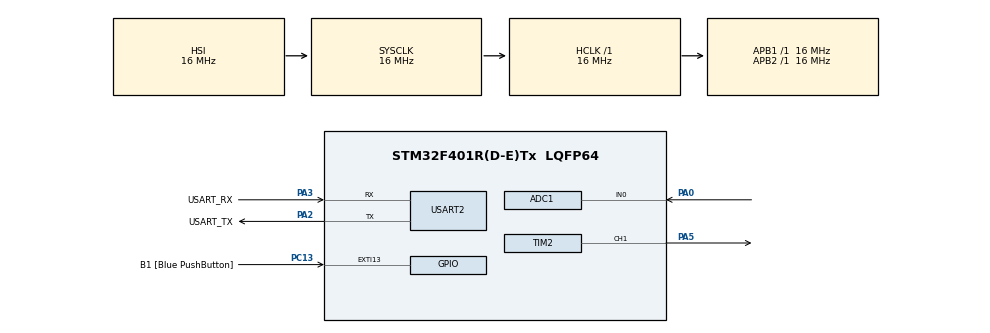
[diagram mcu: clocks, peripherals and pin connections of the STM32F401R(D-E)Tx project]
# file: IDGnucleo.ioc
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ADC1.Channel-0\#ChannelRegularConversion=ADC_CHANNEL_0
ADC1.NbrOfConversionFlag=1
ADC1.Rank-0\#ChannelRegularConversion=1
ADC1.SamplingTime-0\#ChannelRegularConversion=ADC_SAMPLETIME_3CYCLES
ADC1.master=1
Mcu.Family=STM32F4
Mcu.Name=STM32F401R(D-E)Tx
Mcu.Package=LQFP64
NVIC.ADC_IRQn=true\:0\:0\:false\:false\:true\:true\:true\:true
NVIC.EXTI15_10_IRQn=true\:0\:0\:false\:false\:true\:true\:true\:true
NVIC.PriorityGroup=NVIC_PRIORITYGROUP_4
NVIC.USART2_IRQn=true\:0\:0\:false\:false\:true\:true\:true\:true
PA0-WKUP.Signal=ADCx_IN0
PA13.GPIO_Label=TMS
PA13.Mode=Trace_Asynchronous_SW
PA13.Signal=SYS_JTMS-SWDIO
PA14.GPIO_Label=TCK
PA14.Mode=Trace_Asynchronous_SW
PA14.Signal=SYS_JTCK-SWCLK
PA2.GPIO_Label=USART_TX
PA2.GPIO_Mode=GPIO_MODE_AF_PP
PA2.GPIO_PuPd=GPIO_NOPULL
PA2.GPIO_Speed=GPIO_SPEED_FREQ_LOW
PA2.Mode=Asynchronous
PA2.Signal=USART2_TX
PA3.GPIO_Label=USART_RX
PA3.GPIO_Mode=GPIO_MODE_AF_PP
PA3.GPIO_PuPd=GPIO_NOPULL
PA3.GPIO_Speed=GPIO_SPEED_FREQ_LOW
PA3.Mode=Asynchronous
PA3.Signal=USART2_RX
PA5.Signal=S_TIM2_CH1_ETR
PB3.GPIO_Label=SWO
PB3.Mode=Trace_Asynchronous_SW
PB3.Signal=SYS_JTDO-SWO
PC13-ANTI_TAMP.GPIO_Label=B1 [Blue PushButton]
PC13-ANTI_TAMP.GPIO_ModeDefaultEXTI=GPIO_MODE_IT_FALLING
PC13-ANTI_TAMP.GPIO_PuPd=GPIO_NOPULL
PC13-ANTI_TAMP.Signal=GPXTI13
PC14-OSC32_IN.Mode=LSE-External-Oscillator
PC14-OSC32_IN.Signal=RCC_OSC32_IN
PC15-OSC32_OUT.Mode=LSE-External-Oscillator
PC15-OSC32_OUT.Signal=RCC_OSC32_OUT
PH0\ -\ OSC_IN.Mode=HSE-External-Clock-Source
PH0\ -\ OSC_IN.Signal=RCC_OSC_IN
PH1\ -\ OSC_OUT.Mode=HSE-External-Clock-Source
PH1\ -\ OSC_OUT.Signal=RCC_OSC_OUT
ProjectManager.HeapSize=0x200
ProjectManager.StackSize=0x400
ProjectManager.TargetToolchain=STM32CubeIDE
RCC.48MHZClocksFreq_Value=48000000
RCC.AHBFreq_Value=16000000
RCC.APB1Freq_Value=16000000
RCC.APB1TimFreq_Value=16000000
RCC.APB2Freq_Value=16000000
RCC.APB2TimFreq_Value=16000000
RCC.CortexFreq_Value=16000000
RCC.HCLKFreq_Value=16000000
RCC.HSE_VALUE=8000000
RCC.HSI_VALUE=16000000
RCC.PLLN=336
RCC.PLLP=RCC_PLLP_DIV4
RCC.PLLQ=7
RCC.SYSCLKFreq_VALUE=16000000
RCC.VCOOutputFreq_Value=336000000
SH.ADCx_IN0.0=ADC1_IN0,IN0
SH.S_TIM2_CH1_ETR.0=TIM2_CH1,PWM Generation1 CH1
TIM2.Channel-PWM\ Generation1\ CH1=TIM_CHANNEL_1
TIM2.Period=999
TIM2.Prescaler=15
USART2.VirtualMode=VM_ASYNC
VP_TIM2_VS_ClockSourceINT.Mode=Internal
board=NUCLEO-F401RE

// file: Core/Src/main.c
/* USER CODE BEGIN Header */
/**
  ******************************************************************************
  * @file           : main.c
  * @brief          : Main program body
  ******************************************************************************
  * @attention
  *
  * Copyright (c) 2026 STMicroelectronics.
  * All rights reserved.
  *
  * This software is licensed under terms that can be found in the LICENSE file
  * in the root directory of this software component.
  * If no LICENSE file comes with this software, it is provided AS-IS.
  *
  ******************************************************************************
  */
/* USER CODE END Header */
#include "main.h"
#include <string.h>
#include <stdlib.h>

ADC_HandleTypeDef hadc1;

TIM_HandleTypeDef htim2;

UART_HandleTypeDef huart2;

/* USER CODE BEGIN PV */
/* System state */
#define RX_BUF_SIZE 4
#define POT_DEADBAND 10   // minimum change to trigger update

volatile uint32_t potValue = 0;        // last ADC value
volatile uint32_t prevPotValue = 0;    // previous ADC value for comparison

char rxBuf[RX_BUF_SIZE];
volatile uint8_t rxIndex = 0;

volatile uint8_t uartRxEvent = 0;
volatile uint8_t buttonEvent = 0;
volatile uint32_t lastButtonTick = 0;
// LED state
typedef enum {LED_OFF=0, LED_ON=1} LED_State;
volatile LED_State ledState = LED_OFF;
volatile uint8_t targetBrightness = 0;  // 0-100%
volatile uint8_t currentBrightness = 0;       // Desired brightness

/* Input flags */

/* Priority tracking */
typedef enum {
    INPUT_NONE,
    INPUT_UART,
    INPUT_POT,
    INPUT_BUTTON
} InputSource;

InputSource lastInput = INPUT_NONE;
/* USER CODE END PV */

void SystemClock_Config(void);
static void MX_GPIO_Init(void);
static void MX_USART2_UART_Init(void);
static void MX_TIM2_Init(void);
static void MX_ADC1_Init(void);
/* USER CODE BEGIN PFP */
  void LED_UpdateBrightness(void);
/* USER CODE END PFP */

/* USER CODE BEGIN 0 */
/* Transmit a null-terminated string */
void HAL_UART_TransmitString(char *str)
{
    HAL_UART_Transmit(&huart2, (uint8_t *)str, strlen(str), HAL_MAX_DELAY);
}

void HandleUART(void)
{
    if (uartRxEvent)
    {
    	if (strcasecmp((char *)rxBuf, "ON") == 0)
    	{
    		lastInput = INPUT_POT;
    		return;
    	}
        char *endPtr;
        int value = strtol((char *)rxBuf, &endPtr, 10);

        if (*endPtr == '\0') // valid number
        {
            if (value == 0)
            {
                ledState = LED_OFF;
                targetBrightness = 0;
            }
            else if (value >= 1 && value <= 100)
            {
                ledState = LED_ON;
                targetBrightness = value;
            }
        }
        // clear UART event
        uartRxEvent = 0;
        lastInput = INPUT_UART;
    }
}

void HandleButton(void)
{
    if (buttonEvent)
    {
        buttonEvent = 0;
        ledState ^= 1; // toggle

        if (ledState == LED_OFF)
            targetBrightness = 0;
        else
            targetBrightness = 100; // default full brightness

        lastInput = INPUT_BUTTON;
    }
}

void PollPotentiometer(void)
{
    uint32_t adcRaw;

//    // Only act if UART and Button haven't been the last input
   if (lastInput != INPUT_UART && lastInput != INPUT_BUTTON)
    {
        // Start ADC conversion
        HAL_ADC_Start(&hadc1);

        if(HAL_ADC_PollForConversion(&hadc1, 10) == HAL_OK)
        {
            adcRaw = HAL_ADC_GetValue(&hadc1);

            int32_t delta = adcRaw - prevPotValue;

            // Only act if change is significant (deadband)
            if(delta >= POT_DEADBAND || delta <= -POT_DEADBAND)
            {
                prevPotValue = adcRaw;

                // Map 0–255 to 4 levels → 0–3
                uint8_t level = adcRaw / 64;   // 256/4 = 64
                if(level > 3) level = 3;       // clamp max

                // Set LED brightness: 0%, 25%, 50%, 75%, 100%
                targetBrightness = (level) * 25;

                ledState = (targetBrightness > 0) ? LED_ON : LED_OFF;

                // Treat pot as last input
                lastInput = INPUT_POT;
            }
        }

        HAL_ADC_Stop(&hadc1);
   }
}

/* USER CODE END 0 */

int main(void)
{

  /* MCU Configuration--------------------------------------------------------*/

  /* Reset of all peripherals, Initializes the Flash interface and the Systick. */
  HAL_Init();

  /* Configure the system clock */
  SystemClock_Config();

  /* Initialize all configured peripherals */
  MX_GPIO_Init();
  MX_USART2_UART_Init();
  MX_TIM2_Init();
  MX_ADC1_Init();
  /* USER CODE BEGIN 2 */

  HAL_TIM_PWM_Start(&htim2, TIM_CHANNEL_1);
  HAL_UART_Receive_IT(&huart2, (uint8_t *)&rxBuf[rxIndex], 1);
  /* USER CODE END 2 */

  /* Infinite loop */
  while (1)
  {
	  // Handle inputs
	  HandleUART();
	  HandleButton();
	  PollPotentiometer();

	  // Smoothly update LED brightness
	  LED_UpdateBrightness();

	  HAL_Delay(10); // adjust for smoothness
  }
}

void SystemClock_Config(void)
{
  RCC_OscInitTypeDef RCC_OscInitStruct = {0};
  RCC_ClkInitTypeDef RCC_ClkInitStruct = {0};

  /** Configure the main internal regulator output voltage
  */
  __HAL_RCC_PWR_CLK_ENABLE();
  __HAL_PWR_VOLTAGESCALING_CONFIG(PWR_REGULATOR_VOLTAGE_SCALE2);

  /** Initializes the RCC Oscillators according to the specified parameters
  * in the RCC_OscInitTypeDef structure.
  */
  RCC_OscInitStruct.OscillatorType = RCC_OSCILLATORTYPE_HSI;
  RCC_OscInitStruct.HSIState = RCC_HSI_ON;
  RCC_OscInitStruct.HSICalibrationValue = RCC_HSICALIBRATION_DEFAULT;
  RCC_OscInitStruct.PLL.PLLState = RCC_PLL_NONE;
  if (HAL_RCC_OscConfig(&RCC_OscInitStruct) != HAL_OK)
  {
    Error_Handler();
  }

  /** Initializes the CPU, AHB and APB buses clocks
  */
  RCC_ClkInitStruct.ClockType = RCC_CLOCKTYPE_HCLK|RCC_CLOCKTYPE_SYSCLK
                              |RCC_CLOCKTYPE_PCLK1|RCC_CLOCKTYPE_PCLK2;
  RCC_ClkInitStruct.SYSCLKSource = RCC_SYSCLKSOURCE_HSI;
  RCC_ClkInitStruct.AHBCLKDivider = RCC_SYSCLK_DIV1;
  RCC_ClkInitStruct.APB1CLKDivider = RCC_HCLK_DIV1;
  RCC_ClkInitStruct.APB2CLKDivider = RCC_HCLK_DIV1;

  if (HAL_RCC_ClockConfig(&RCC_ClkInitStruct, FLASH_LATENCY_0) != HAL_OK)
  {
    Error_Handler();
  }
}

static void MX_ADC1_Init(void)
{

  ADC_ChannelConfTypeDef sConfig = {0};

  /** Configure the global features of the ADC (Clock, Resolution, Data Alignment and number of conversion)
  */
  hadc1.Instance = ADC1;
  hadc1.Init.ClockPrescaler = ADC_CLOCK_SYNC_PCLK_DIV2;
  hadc1.Init.Resolution = ADC_RESOLUTION_12B;
  hadc1.Init.ScanConvMode = DISABLE;
  hadc1.Init.ContinuousConvMode = DISABLE;
  hadc1.Init.DiscontinuousConvMode = DISABLE;
  hadc1.Init.ExternalTrigConvEdge = ADC_EXTERNALTRIGCONVEDGE_NONE;
  hadc1.Init.ExternalTrigConv = ADC_SOFTWARE_START;
  hadc1.Init.DataAlign = ADC_DATAALIGN_RIGHT;
  hadc1.Init.NbrOfConversion = 1;
  hadc1.Init.DMAContinuousRequests = DISABLE;
  hadc1.Init.EOCSelection = ADC_EOC_SINGLE_CONV;
  if (HAL_ADC_Init(&hadc1) != HAL_OK)
  {
    Error_Handler();
  }

  /** Configure for the selected ADC regular channel its corresponding rank in the sequencer and its sample time.
  */
  sConfig.Channel = ADC_CHANNEL_0;
  sConfig.Rank = 1;
  sConfig.SamplingTime = ADC_SAMPLETIME_3CYCLES;
  if (HAL_ADC_ConfigChannel(&hadc1, &sConfig) != HAL_OK)
  {
    Error_Handler();
  }

}

static void MX_TIM2_Init(void)
{

  TIM_ClockConfigTypeDef sClockSourceConfig = {0};
  TIM_MasterConfigTypeDef sMasterConfig = {0};
  TIM_OC_InitTypeDef sConfigOC = {0};

  htim2.Instance = TIM2;
  htim2.Init.Prescaler = 15;
  htim2.Init.CounterMode = TIM_COUNTERMODE_UP;
  htim2.Init.Period = 999;
  htim2.Init.ClockDivision = TIM_CLOCKDIVISION_DIV1;
  htim2.Init.AutoReloadPreload = TIM_AUTORELOAD_PRELOAD_DISABLE;
  if (HAL_TIM_Base_Init(&htim2) != HAL_OK)
  {
    Error_Handler();
  }
  sClockSourceConfig.ClockSource = TIM_CLOCKSOURCE_INTERNAL;
  if (HAL_TIM_ConfigClockSource(&htim2, &sClockSourceConfig) != HAL_OK)
  {
    Error_Handler();
  }
  if (HAL_TIM_PWM_Init(&htim2) != HAL_OK)
  {
    Error_Handler();
  }
  sMasterConfig.MasterOutputTrigger = TIM_TRGO_RESET;
  sMasterConfig.MasterSlaveMode = TIM_MASTERSLAVEMODE_DISABLE;
  if (HAL_TIMEx_MasterConfigSynchronization(&htim2, &sMasterConfig) != HAL_OK)
  {
    Error_Handler();
  }
  sConfigOC.OCMode = TIM_OCMODE_PWM1;
  sConfigOC.Pulse = 0;
  sConfigOC.OCPolarity = TIM_OCPOLARITY_HIGH;
  sConfigOC.OCFastMode = TIM_OCFAST_DISABLE;
  if (HAL_TIM_PWM_ConfigChannel(&htim2, &sConfigOC, TIM_CHANNEL_1) != HAL_OK)
  {
    Error_Handler();
  }
  HAL_TIM_MspPostInit(&htim2);

}

static void MX_USART2_UART_Init(void)
{

  huart2.Instance = USART2;
  huart2.Init.BaudRate = 115200;
  huart2.Init.WordLength = UART_WORDLENGTH_8B;
  huart2.Init.StopBits = UART_STOPBITS_1;
  huart2.Init.Parity = UART_PARITY_NONE;
  huart2.Init.Mode = UART_MODE_TX_RX;
  huart2.Init.HwFlowCtl = UART_HWCONTROL_NONE;
  huart2.Init.OverSampling = UART_OVERSAMPLING_16;
  if (HAL_UART_Init(&huart2) != HAL_OK)
  {
    Error_Handler();
  }

}

static void MX_GPIO_Init(void)
{
  GPIO_InitTypeDef GPIO_InitStruct = {0};

  /* GPIO Ports Clock Enable */
  __HAL_RCC_GPIOC_CLK_ENABLE();
  __HAL_RCC_GPIOH_CLK_ENABLE();
  __HAL_RCC_GPIOA_CLK_ENABLE();
  __HAL_RCC_GPIOB_CLK_ENABLE();

  /*Configure GPIO pin : B1_Pin */
  GPIO_InitStruct.Pin = B1_Pin;
  GPIO_InitStruct.Mode = GPIO_MODE_IT_FALLING;
  GPIO_InitStruct.Pull = GPIO_PULLUP;
  HAL_GPIO_Init(B1_GPIO_Port, &GPIO_InitStruct);

  /* EXTI interrupt init*/
  HAL_NVIC_SetPriority(EXTI15_10_IRQn, 0, 0);
  HAL_NVIC_EnableIRQ(EXTI15_10_IRQn);

}

/* USER CODE BEGIN 4 */
void HAL_UART_RxCpltCallback(UART_HandleTypeDef *huart)
{
	if (huart->Instance == USART2)
	    {
	        char rxByte = rxBuf[rxIndex];  // current received byte

	        if (rxByte == '\r' || rxByte == '\n')
	        {
	            rxBuf[rxIndex] = '\0';  // terminate string
	            uartRxEvent = 1;        // signal main loop
	            rxIndex = 0;            // reset buffer index
	        }
	        else
	        {
	            if (rxIndex < RX_BUF_SIZE - 1)
	            {
	                rxIndex++;
	            }
	        }
	        HAL_UART_Receive_IT(&huart2, (uint8_t *)&rxBuf[rxIndex], 1);
	    }
}

void HAL_ADC_ConvCpltCallback(ADC_HandleTypeDef *hadc)
{
    if (hadc->Instance == ADC1)
    {
        uint32_t adcRaw = HAL_ADC_GetValue(hadc);   // 0–4095 (12-bit)

        potValue = adcRaw;   // global variable

        HAL_ADC_Start_IT(hadc);
    }
}

void HAL_GPIO_EXTI_Callback(uint16_t GPIO_Pin)
{
    if (GPIO_Pin == GPIO_PIN_13)
    {
        uint32_t now = HAL_GetTick();

        // Simple debounce (200 ms)
        if (now - lastButtonTick >= 200)
        {
            buttonEvent = 1;   // signal main loop
            lastButtonTick = now;
        }
    }
}

void LED_UpdateBrightness(void)
{
    if (currentBrightness < targetBrightness)
        currentBrightness++;
    else if (currentBrightness > targetBrightness)
        currentBrightness--;

    uint32_t pulse = (htim2.Init.Period + 1) * currentBrightness / 100;
    __HAL_TIM_SET_COMPARE(&htim2, TIM_CHANNEL_1, pulse);
}

/* USER CODE END 4 */

void Error_Handler(void)
{
  __disable_irq();
  while (1)
  {
  }
}
